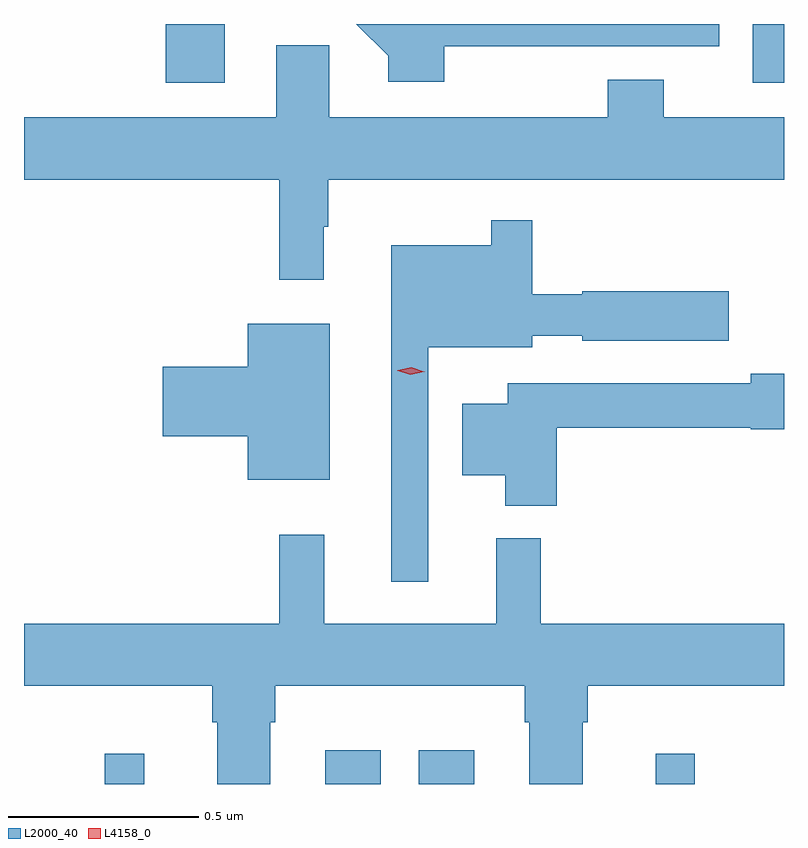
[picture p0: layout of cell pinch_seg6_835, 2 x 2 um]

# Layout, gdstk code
import gdstk
lib = gdstk.Library(unit=1e-6, precision=1e-09)
def R(c, l, rs):  # rectangles x0, y0, x1, y1
    for r in rs: c.add(gdstk.rectangle(r[:2], r[2:], *l))
def P(c, l, *ps):  # polygons
    for p in ps: c.add(gdstk.Polygon(p, *l))
L2000_40 = (2000, 40)
L4158_0 = (4158, 0)

pinch_seg6_835 = lib.new_cell('pinch_seg6_835')
R(pinch_seg6_835, L2000_40, [(181.63,968.39,181.733,968.47), (182.21,968.39,182.356,968.479), (182.456,968.39,182.602,968.479), (183.08,968.39,183.182,968.47), (181.79,970.236,181.945,970.39), (183.335,970.236,183.417,970.39)])
P(pinch_seg6_835, L2000_40, [(182.523,970.331),(182.864,970.331),(182.864,970.332),(183.246,970.332),(183.246,970.39),(182.291,970.39),(182.375,970.306),(182.375,970.238),(182.523,970.238)],
  [(182.206,969.857),(182.218,969.857),(182.218,969.98),(183.417,969.98),(183.417,970.144),(183.1,970.144),(183.1,970.243),(182.953,970.243),(182.953,970.144),(182.22,970.144),(182.22,970.334),(182.081,970.334),(182.081,970.144),(181.417,970.144),(181.417,969.98),(182.089,969.98),(182.089,969.717),(182.206,969.717)],
  [(182.481,969.539),(182.755,969.539),(182.755,969.57),(182.886,969.57),(182.886,969.557),(183.271,969.557),(183.271,969.687),(182.886,969.687),(182.886,969.679),(182.755,969.679),(182.755,969.874),(182.646,969.874),(182.646,969.808),(182.384,969.808),(182.384,968.922),(182.481,968.922)],
  [(182.221,969.601),(182.006,969.601),(182.006,969.488),(181.782,969.488),(181.782,969.305),(182.006,969.305),(182.006,969.191),(182.221,969.191)],
  [(182.819,969.328),(183.33,969.328),(183.33,969.323),(183.417,969.323),(183.417,969.47),(183.33,969.47),(183.33,969.444),(182.69,969.444),(182.69,969.391),(182.57,969.391),(182.57,969.203),(182.684,969.203),(182.684,969.122),(182.819,969.122)],
  [(182.065,968.552),(182.078,968.552),(182.078,968.648),(182.735,968.648),(182.735,968.552),(182.747,968.552),(182.747,968.39),(182.887,968.39),(182.887,968.552),(182.9,968.552),(182.9,968.648),(183.417,968.648),(183.417,968.812),(182.777,968.812),(182.777,969.037),(182.66,969.037),(182.66,968.812),(182.207,968.812),(182.207,969.046),(182.089,969.046),(182.089,968.812),(181.417,968.812),(181.417,968.648),(181.913,968.648),(181.913,968.552),(181.925,968.552),(181.925,968.39),(182.065,968.39)])
P(pinch_seg6_835, L4158_0, [(182.434,969.467),(182.4,969.478),(182.399,969.478),(182.4,969.479),(182.436,969.487),(182.47,969.475),(182.471,969.475),(182.47,969.475)])

lib.write_gds('pinch_seg6_835.gds')
